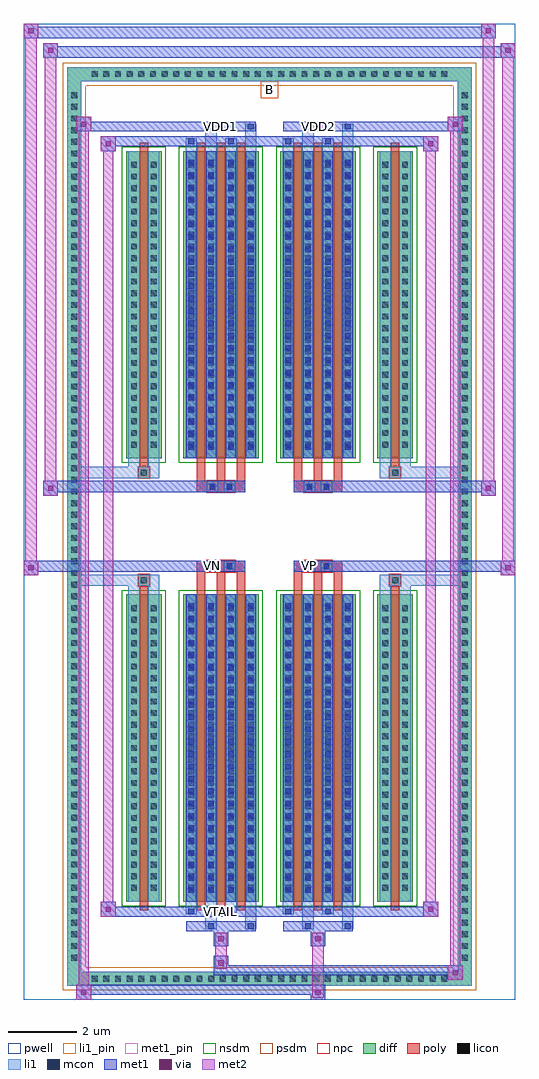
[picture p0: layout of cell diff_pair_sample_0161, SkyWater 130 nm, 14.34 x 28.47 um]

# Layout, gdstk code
import gdstk
lib = gdstk.Library(unit=1e-6, precision=5e-09)
def R(c, l, rs):  # rectangles x0, y0, x1, y1
    for r in rs: c.add(gdstk.rectangle(r[:2], r[2:], *l))
def A(c, l, x, y, w, h, nx, ny, dx, dy):  # array of equal rectangles
    R(c, l, [(x+i*dx, y+j*dy, x+i*dx+w, y+j*dy+h) for i in range(nx) for j in range(ny)])
def P(c, l, *ps):  # polygons
    for p in ps: c.add(gdstk.Polygon(p, *l))
pwell = (64, 44)
diff = (65, 20)
poly = (66, 20)
licon = (66, 44)
li1_pin = (67, 16)
li1 = (67, 20)
mcon = (67, 44)
met1_pin = (68, 16)
met1 = (68, 20)
via = (68, 44)
met2 = (69, 20)
nsdm = (93, 44)
psdm = (94, 20)
npc = (95, 20)

diff_pair_sample_0161 = lib.new_cell('diff_pair_sample_0161')
R(diff_pair_sample_0161, pwell, [(-7.17,-13.8,7.17,14.67), (-4.49,-11.99,-0.01,-0.795), (0.01,-11.99,4.49,-0.795), (-4.49,0.795,-0.01,11.99), (0.01,0.795,4.49,11.99)])
A(diff_pair_sample_0161, diff, -5.305, -13.4, 0.41, 0.41, 31, 2, 0.34, 26.39)
A(diff_pair_sample_0161, diff, -5.9, -12.785, 0.41, 0.41, 1, 75, 0, 0.34)
A(diff_pair_sample_0161, diff, 5.49, -12.785, 0.41, 0.41, 1, 75, 0, 0.34)
R(diff_pair_sample_0161, diff, [(-5.305,-13.4,5.305,-12.99), (-5.9,-12.785,-5.49,12.785), (5.49,-12.785,5.9,12.785), (-4.18,-10.945,-3.15,-1.985), (-2.51,-10.945,-0.32,-1.985), (0.32,-10.945,2.51,-1.985), (3.15,-10.945,4.18,-1.985), (-4.18,1.985,-3.15,10.945), (-2.51,1.985,-0.32,10.945), (0.32,1.985,2.51,10.945), (3.15,1.985,4.18,10.945), (-5.305,12.99,5.305,13.4)])
P(diff_pair_sample_0161, diff, [(5.9,13.4),(-5.9,13.4),(-5.9,-12.99),(-5.49,-12.99),(-5.49,12.99),(5.49,12.99),(5.49,-12.99),(-5.49,-12.99),(-5.9,-12.99),(-5.9,-13.4),(5.9,-13.4)])
A(diff_pair_sample_0161, poly, -2.12, -11.195, 0.25, 9.46, 3, 2, 0.58, 12.93)
A(diff_pair_sample_0161, poly, 0.71, -11.195, 0.25, 9.46, 3, 2, 0.58, 12.93)
A(diff_pair_sample_0161, poly, -2.12, -1.735, 0.25, 0.41, 3, 2, 0.58, 3.06)
A(diff_pair_sample_0161, poly, 0.71, -1.735, 0.25, 0.41, 3, 2, 0.58, 3.06)
R(diff_pair_sample_0161, poly, [(-3.79,-11.195,-3.54,-1.735), (3.54,-11.195,3.79,-1.735), (-3.83,-1.735,-3.5,-1.405), (-3.83,-1.735,-3.5,-1.405), (3.5,-1.735,3.83,-1.405), (3.5,-1.735,3.83,-1.405), (-2.12,-1.325,-0.71,-0.995), (-1.83,-1.325,-1.5,-0.995), (-1.33,-1.325,-1,-0.995), (0.71,-1.325,2.12,-0.995), (1,-1.325,1.33,-0.995), (1.5,-1.325,1.83,-0.995), (-2.12,0.995,-0.71,1.325), (-1.83,0.995,-1.5,1.325), (-1.33,0.995,-1,1.325), (0.71,0.995,2.12,1.325), (1,0.995,1.33,1.325), (1.5,0.995,1.83,1.325), (-3.83,1.405,-3.5,1.735), (-3.83,1.405,-3.5,1.735), (3.5,1.405,3.83,1.735), (3.5,1.405,3.83,1.735), (-3.79,1.735,-3.54,11.195), (3.54,1.735,3.79,11.195)])
A(diff_pair_sample_0161, licon, -5.185, -13.28, 0.17, 0.17, 31, 2, 0.34, 26.39)
A(diff_pair_sample_0161, licon, -5.78, -12.665, 0.17, 0.17, 1, 75, 0, 0.34)
A(diff_pair_sample_0161, licon, 5.61, -12.665, 0.17, 0.17, 1, 75, 0, 0.34)
A(diff_pair_sample_0161, licon, -4.04, -10.63, 0.17, 0.17, 1, 25, 0, 0.34)
A(diff_pair_sample_0161, licon, -3.46, -10.63, 0.17, 0.17, 1, 25, 0, 0.34)
A(diff_pair_sample_0161, licon, -2.37, -10.63, 0.17, 0.17, 4, 25, 0.58, 0.34)
A(diff_pair_sample_0161, licon, 0.46, -10.63, 0.17, 0.17, 4, 25, 0.58, 0.34)
A(diff_pair_sample_0161, licon, 3.29, -10.63, 0.17, 0.17, 1, 25, 0, 0.34)
A(diff_pair_sample_0161, licon, 3.87, -10.63, 0.17, 0.17, 1, 25, 0, 0.34)
A(diff_pair_sample_0161, licon, -4.04, 2.3, 0.17, 0.17, 1, 25, 0, 0.34)
A(diff_pair_sample_0161, licon, -3.46, 2.3, 0.17, 0.17, 1, 25, 0, 0.34)
A(diff_pair_sample_0161, licon, -2.37, 2.3, 0.17, 0.17, 4, 25, 0.58, 0.34)
A(diff_pair_sample_0161, licon, 0.46, 2.3, 0.17, 0.17, 4, 25, 0.58, 0.34)
A(diff_pair_sample_0161, licon, 3.29, 2.3, 0.17, 0.17, 1, 25, 0, 0.34)
A(diff_pair_sample_0161, licon, 3.87, 2.3, 0.17, 0.17, 1, 25, 0, 0.34)
R(diff_pair_sample_0161, licon, [(-3.75,-1.655,-3.58,-1.485), (3.58,-1.655,3.75,-1.485), (-1.75,-1.245,-1.58,-1.075), (-1.25,-1.245,-1.08,-1.075), (1.08,-1.245,1.25,-1.075), (1.58,-1.245,1.75,-1.075), (-1.75,1.075,-1.58,1.245), (-1.25,1.075,-1.08,1.245), (1.08,1.075,1.25,1.245), (1.58,1.075,1.75,1.245), (-3.75,1.485,-3.58,1.655), (3.58,1.485,3.75,1.655)])
R(diff_pair_sample_0161, li1_pin, [(-0.25,12.49,0.25,12.99)])
A(diff_pair_sample_0161, li1, -5.265, -13.36, 0.33, 0.33, 31, 2, 0.34, 26.39)
A(diff_pair_sample_0161, li1, -5.86, -12.745, 0.33, 0.33, 1, 75, 0, 0.34)
A(diff_pair_sample_0161, li1, 5.53, -12.745, 0.33, 0.33, 1, 75, 0, 0.34)
A(diff_pair_sample_0161, li1, -2.45, -10.945, 0.33, 8.96, 4, 2, 0.58, 12.93)
A(diff_pair_sample_0161, li1, 0.38, -10.945, 0.33, 8.96, 4, 2, 0.58, 12.93)
A(diff_pair_sample_0161, li1, -4.12, -10.71, 0.33, 0.33, 1, 25, 0, 0.34)
A(diff_pair_sample_0161, li1, -3.54, -10.71, 0.33, 0.33, 1, 25, 0, 0.34)
A(diff_pair_sample_0161, li1, -2.45, -10.71, 0.33, 0.33, 4, 25, 0.58, 0.34)
A(diff_pair_sample_0161, li1, 0.38, -10.71, 0.33, 0.33, 4, 25, 0.58, 0.34)
A(diff_pair_sample_0161, li1, 3.21, -10.71, 0.33, 0.33, 1, 25, 0, 0.34)
A(diff_pair_sample_0161, li1, 3.79, -10.71, 0.33, 0.33, 1, 25, 0, 0.34)
A(diff_pair_sample_0161, li1, -2.37, -10.69, 0.17, 0.17, 4, 24, 0.58, 0.36)
A(diff_pair_sample_0161, li1, -2.37, -10.69, 0.17, 8.45, 4, 2, 0.58, 12.93)
A(diff_pair_sample_0161, li1, 0.46, -10.69, 0.17, 0.17, 4, 24, 0.58, 0.36)
A(diff_pair_sample_0161, li1, 0.46, -10.69, 0.17, 8.45, 4, 2, 0.58, 12.93)
A(diff_pair_sample_0161, li1, -4.12, 2.22, 0.33, 0.33, 1, 25, 0, 0.34)
A(diff_pair_sample_0161, li1, -3.54, 2.22, 0.33, 0.33, 1, 25, 0, 0.34)
A(diff_pair_sample_0161, li1, -2.45, 2.22, 0.33, 0.33, 4, 25, 0.58, 0.34)
A(diff_pair_sample_0161, li1, 0.38, 2.22, 0.33, 0.33, 4, 25, 0.58, 0.34)
A(diff_pair_sample_0161, li1, 3.21, 2.22, 0.33, 0.33, 1, 25, 0, 0.34)
A(diff_pair_sample_0161, li1, 3.79, 2.22, 0.33, 0.33, 1, 25, 0, 0.34)
A(diff_pair_sample_0161, li1, -2.37, 2.24, 0.17, 0.17, 4, 24, 0.58, 0.36)
A(diff_pair_sample_0161, li1, 0.46, 2.24, 0.17, 0.17, 4, 24, 0.58, 0.36)
R(diff_pair_sample_0161, li1, [(-5.9,-13.4,-5.49,-12.99), (-5.9,-13.4,-5.49,-12.99), (-5.49,-13.4,5.49,-12.99), (5.49,-13.4,5.9,-12.99), (5.49,-13.4,5.9,-12.99), (-5.9,-12.99,-5.49,12.99), (5.49,-12.99,5.9,12.99), (-1.87,-11.75,-1.54,-10.945), (-1.79,-11.75,-1.62,-11.58), (-0.71,-11.75,-0.38,-10.945), (-0.63,-11.75,-0.46,-11.58), (0.96,-11.75,1.29,-10.945), (1.04,-11.75,1.21,-11.58), (2.12,-11.75,2.45,-10.945), (2.2,-11.75,2.37,-11.58), (-2.45,-11.32,-2.12,-10.945), (-2.37,-11.32,-2.2,-11.15), (-1.29,-11.32,-0.96,-10.945), (-1.21,-11.32,-1.04,-11.15), (0.38,-11.32,0.71,-10.945), (0.46,-11.32,0.63,-11.15), (1.54,-11.32,1.87,-10.945), (1.62,-11.32,1.79,-11.15), (-4.12,-10.945,-3.79,-1.985), (-3.54,-10.945,-3.21,-1.985), (3.21,-10.945,3.54,-1.985), (3.79,-10.945,4.12,-1.985), (-4.12,-1.985,-3.79,-1.405), (-3.54,-1.985,-3.21,-1.405), (3.21,-1.985,3.54,-1.405), (3.79,-1.985,4.12,-1.405), (-5.9,-1.735,-3.83,-1.405), (-4.12,-1.735,-3.83,-1.405), (-3.83,-1.735,-3.5,-1.405), (-3.5,-1.735,-3.21,-1.405), (3.21,-1.735,3.5,-1.405), (3.5,-1.735,3.83,-1.405), (3.5,-1.735,5.9,-1.405), (3.83,-1.735,4.12,-1.405), (-1.83,-1.325,-1.5,-0.995), (-1.33,-1.325,-1,-0.995), (1,-1.325,1.33,-0.995), (1.5,-1.325,1.83,-0.995), (-1.83,0.995,-1.5,1.325), (-1.33,0.995,-1,1.325), (1,0.995,1.33,1.325), (1.5,0.995,1.83,1.325), (-5.9,1.405,-3.83,1.735), (-4.12,1.405,-3.83,1.735), (-4.12,1.405,-3.79,1.985), (-3.83,1.405,-3.5,1.735), (-3.54,1.405,-3.21,1.985), (-3.5,1.405,-3.21,1.735), (3.21,1.405,3.5,1.735), (3.21,1.405,3.54,1.985), (3.5,1.405,3.83,1.735), (3.5,1.405,5.9,1.735), (3.79,1.405,4.12,1.985), (3.83,1.405,4.12,1.735), (-4.12,1.985,-3.79,10.945), (-3.54,1.985,-3.21,10.945), (3.21,1.985,3.54,10.945), (3.79,1.985,4.12,10.945), (-2.45,10.945,-2.12,11.32), (-1.87,10.945,-1.54,11.75), (-1.29,10.945,-0.96,11.32), (-0.71,10.945,-0.38,11.75), (0.38,10.945,0.71,11.32), (0.96,10.945,1.29,11.75), (1.54,10.945,1.87,11.32), (2.12,10.945,2.45,11.75), (-2.37,11.15,-2.2,11.32), (-1.21,11.15,-1.04,11.32), (0.46,11.15,0.63,11.32), (1.62,11.15,1.79,11.32), (-1.79,11.58,-1.62,11.75), (-0.63,11.58,-0.46,11.75), (1.04,11.58,1.21,11.75), (2.2,11.58,2.37,11.75), (-5.9,12.99,-5.49,13.4), (-5.9,12.99,-5.49,13.4), (-5.49,12.99,5.49,13.4), (5.49,12.99,5.9,13.4), (5.49,12.99,5.9,13.4)])
A(diff_pair_sample_0161, mcon, -2.37, -10.69, 0.17, 0.17, 4, 24, 0.58, 0.36)
A(diff_pair_sample_0161, mcon, 0.46, -10.69, 0.17, 0.17, 4, 24, 0.58, 0.36)
A(diff_pair_sample_0161, mcon, -2.37, 2.24, 0.17, 0.17, 4, 24, 0.58, 0.36)
A(diff_pair_sample_0161, mcon, 0.46, 2.24, 0.17, 0.17, 4, 24, 0.58, 0.36)
R(diff_pair_sample_0161, mcon, [(-1.79,-11.75,-1.62,-11.58), (-0.63,-11.75,-0.46,-11.58), (1.04,-11.75,1.21,-11.58), (2.2,-11.75,2.37,-11.58), (-2.37,-11.32,-2.2,-11.15), (-1.21,-11.32,-1.04,-11.15), (0.46,-11.32,0.63,-11.15), (1.62,-11.32,1.79,-11.15), (-1.75,-1.245,-1.58,-1.075), (-1.25,-1.245,-1.08,-1.075), (1.08,-1.245,1.25,-1.075), (1.58,-1.245,1.75,-1.075), (-1.75,1.075,-1.58,1.245), (-1.25,1.075,-1.08,1.245), (1.08,1.075,1.25,1.245), (1.58,1.075,1.75,1.245), (-2.37,11.15,-2.2,11.32), (-1.21,11.15,-1.04,11.32), (0.46,11.15,0.63,11.32), (1.62,11.15,1.79,11.32), (-1.79,11.58,-1.62,11.75), (-0.63,11.58,-0.46,11.75), (1.04,11.58,1.21,11.75), (2.2,11.58,2.37,11.75)])
R(diff_pair_sample_0161, met1_pin, [(-1.55,-11.36,-1.28,-11.09), (-1.8,-1.285,-1.53,-1.015), (1.03,-1.285,1.3,-1.015), (-1.55,11.54,-1.28,11.81), (1.28,11.54,1.55,11.81)])
A(diff_pair_sample_0161, met1, -2.43, -10.945, 0.29, 8.96, 4, 2, 0.58, 12.93)
A(diff_pair_sample_0161, met1, 0.4, -10.945, 0.29, 8.96, 4, 2, 0.58, 12.93)
A(diff_pair_sample_0161, met1, -2.43, -10.75, 0.29, 0.29, 4, 24, 0.58, 0.36)
A(diff_pair_sample_0161, met1, 0.4, -10.75, 0.29, 0.29, 4, 24, 0.58, 0.36)
A(diff_pair_sample_0161, met1, -2.43, 2.18, 0.29, 0.29, 4, 24, 0.58, 0.36)
A(diff_pair_sample_0161, met1, 0.4, 2.18, 0.29, 0.29, 4, 24, 0.58, 0.36)
R(diff_pair_sample_0161, met1, [(-5.63,-13.8,-5.2,-13.37), (1.2,-13.8,1.63,-13.37), (-5.63,-13.66,1.63,-13.37), (5.2,-13.23,5.63,-12.8), (-1.63,-13.09,5.63,-12.8), (-1.63,-12.95,-1.2,-12.52), (-1.63,-12.24,-1.2,-11.81), (1.2,-12.24,1.63,-11.81), (-2.43,-11.81,-0.4,-11.52), (-1.85,-11.81,-1.56,-11.52), (-0.69,-11.81,-0.4,-11.52), (0.4,-11.81,2.43,-11.52), (0.98,-11.81,1.27,-11.52), (2.14,-11.81,2.43,-11.52), (-4.92,-11.38,-4.49,-10.95), (-4.92,-11.38,-2.43,-11.09), (-2.43,-11.38,-2.14,-11.09), (-2.43,-11.38,-0.4,-11.09), (-1.27,-11.38,-0.98,-11.09), (-0.4,-11.38,0.4,-11.09), (0.4,-11.38,0.69,-11.09), (0.4,-11.38,2.43,-11.09), (1.56,-11.38,1.85,-11.09), (2.43,-11.38,4.92,-11.09), (4.49,-11.38,4.92,-10.95), (-7.17,-1.425,-6.74,-0.995), (6.74,-1.425,7.17,-0.995), (-7.17,-1.325,-0.71,-0.995), (-2.12,-1.325,-0.71,-0.995), (0.71,-1.325,2.12,-0.995), (0.71,-1.325,7.17,-0.995), (-1.81,-1.305,-1.52,-1.015), (-1.31,-1.305,-1.02,-1.015), (1.02,-1.305,1.31,-1.015), (1.52,-1.305,1.81,-1.015), (-6.6,0.895,-6.17,1.325), (6.17,0.895,6.6,1.325), (-6.6,0.995,-2.12,1.325), (-2.12,0.995,-0.71,1.325), (0.71,0.995,2.12,1.325), (2.12,0.995,6.6,1.325), (-1.81,1.015,-1.52,1.305), (-1.31,1.015,-1.02,1.305), (1.02,1.015,1.31,1.305), (1.52,1.015,1.81,1.305), (-4.92,10.95,-4.49,11.38), (4.49,10.95,4.92,11.38), (-4.92,11.09,-2.43,11.38), (-2.43,11.09,-2.14,11.38), (-2.43,11.09,-0.4,11.38), (-1.27,11.09,-0.98,11.38), (-0.4,11.09,0.4,11.38), (0.4,11.09,0.69,11.38), (0.4,11.09,2.43,11.38), (1.56,11.09,1.85,11.38), (2.43,11.09,4.92,11.38), (-5.63,11.52,-5.2,11.95), (-5.63,11.52,-2.43,11.81), (-2.43,11.52,-0.4,11.81), (-1.85,11.52,-1.56,11.81), (-0.69,11.52,-0.4,11.81), (0.4,11.52,2.43,11.81), (0.98,11.52,1.27,11.81), (2.14,11.52,2.43,11.81), (2.43,11.52,5.63,11.81), (5.2,11.52,5.63,11.95), (-6.6,13.67,-6.17,14.1), (-6.6,13.67,-4.49,14), (-4.49,13.67,4.49,14), (4.49,13.67,7.17,14), (6.74,13.67,7.17,14.1), (-7.17,14.24,-6.74,14.67), (-7.17,14.24,-4.49,14.57), (-4.49,14.24,4.49,14.57), (4.49,14.24,6.6,14.57), (6.17,14.24,6.6,14.67)])
R(diff_pair_sample_0161, via, [(-5.49,-13.66,-5.34,-13.51), (1.34,-13.66,1.49,-13.51), (5.34,-13.09,5.49,-12.94), (-1.49,-12.81,-1.34,-12.66), (-1.49,-12.1,-1.34,-11.95), (1.34,-12.1,1.49,-11.95), (-4.78,-11.24,-4.63,-11.09), (4.63,-11.24,4.78,-11.09), (-7.03,-1.285,-6.88,-1.135), (6.88,-1.285,7.03,-1.135), (-6.46,1.035,-6.31,1.185), (6.31,1.035,6.46,1.185), (-4.78,11.09,-4.63,11.24), (4.63,11.09,4.78,11.24), (-5.49,11.66,-5.34,11.81), (5.34,11.66,5.49,11.81), (-6.46,13.81,-6.31,13.96), (6.88,13.81,7.03,13.96), (-7.03,14.38,-6.88,14.53), (6.31,14.38,6.46,14.53)])
R(diff_pair_sample_0161, met2, [(-5.63,-13.8,-5.2,-13.37), (-5.56,-13.8,-5.27,11.95), (-5.27,-13.8,-5.2,-13.37), (-5.58,-13.75,-5.25,-13.42), (1.25,-13.75,1.58,-13.42), (1.25,-13.42,1.58,-12.19), (5.2,-13.23,5.63,-12.8), (5.27,-13.23,5.56,11.95), (5.56,-13.23,5.63,-12.8), (5.25,-13.18,5.58,-12.85), (-1.58,-12.9,-1.25,-12.57), (-1.58,-12.57,-1.25,-12.19), (-1.58,-12.19,-1.25,-11.86), (1.25,-12.19,1.58,-11.86), (-4.92,-11.38,-4.49,-10.95), (-4.85,-11.38,-4.56,11.38), (-4.56,-11.38,-4.49,-10.95), (4.49,-11.38,4.92,-10.95), (4.56,-11.38,4.85,11.38), (4.85,-11.38,4.92,-10.95), (-4.87,-11.33,-4.54,-11), (4.54,-11.33,4.87,-11), (-7.17,-1.425,-6.74,-0.995), (-7.12,-1.425,-6.79,14.67), (-6.79,-1.425,-6.74,-0.995), (6.74,-1.425,7.17,-0.995), (6.79,-1.425,7.12,14.1), (7.12,-1.425,7.17,-0.995), (-7.12,-1.375,-6.79,-1.045), (6.79,-1.375,7.12,-1.045), (-6.6,0.895,-6.17,1.325), (-6.55,0.895,-6.22,14.1), (-6.22,0.895,-6.17,1.325), (6.17,0.895,6.6,1.325), (6.22,0.895,6.55,14.67), (6.55,0.895,6.6,1.325), (-6.55,0.945,-6.22,1.275), (6.22,0.945,6.55,1.275), (-4.92,10.95,-4.49,11.38), (-4.56,10.95,-4.49,11.38), (4.49,10.95,4.92,11.38), (4.85,10.95,4.92,11.38), (-4.87,11,-4.54,11.33), (4.54,11,4.87,11.33), (-5.63,11.52,-5.2,11.95), (-5.27,11.52,-5.2,11.95), (5.2,11.52,5.63,11.95), (5.56,11.52,5.63,11.95), (-5.58,11.57,-5.25,11.9), (5.25,11.57,5.58,11.9), (-6.6,13.67,-6.17,14.1), (-6.22,13.67,-6.17,14.1), (6.74,13.67,7.17,14.1), (7.12,13.67,7.17,14.1), (-6.55,13.72,-6.22,14.05), (6.79,13.72,7.12,14.05), (-7.17,14.24,-6.74,14.67), (-6.79,14.24,-6.74,14.67), (6.17,14.24,6.6,14.67), (6.55,14.24,6.6,14.67), (-7.12,14.29,-6.79,14.62), (6.22,14.29,6.55,14.62)])
R(diff_pair_sample_0161, nsdm, [(-4.31,-11.075,-3.02,-1.855), (-2.64,-11.075,-0.19,-1.855), (0.19,-11.075,2.64,-1.855), (3.02,-11.075,4.31,-1.855), (-4.31,1.855,-3.02,11.075), (-2.64,1.855,-0.19,11.075), (0.19,1.855,2.64,11.075), (3.02,1.855,4.31,11.075)])
P(diff_pair_sample_0161, psdm, [(6.03,13.53),(-6.03,13.53),(-6.03,-12.86),(-5.36,-12.86),(-5.36,12.86),(5.36,12.86),(5.36,-12.86),(-5.36,-12.86),(-6.03,-12.86),(-6.03,-13.53),(6.03,-13.53)])
R(diff_pair_sample_0161, npc, [(-3.85,-1.755,-3.48,-1.385), (3.48,-1.755,3.85,-1.385), (-1.85,-1.345,-1.48,-0.975), (-1.85,-1.345,-0.98,-0.975), (-1.85,-1.345,-0.98,-0.975), (-1.35,-1.345,-0.98,-0.975), (0.98,-1.345,1.35,-0.975), (0.98,-1.345,1.85,-0.975), (0.98,-1.345,1.85,-0.975), (1.48,-1.345,1.85,-0.975), (-1.85,0.975,-1.48,1.345), (-1.85,0.975,-0.98,1.345), (-1.85,0.975,-0.98,1.345), (-1.35,0.975,-0.98,1.345), (0.98,0.975,1.35,1.345), (0.98,0.975,1.85,1.345), (0.98,0.975,1.85,1.345), (1.48,0.975,1.85,1.345), (-3.85,1.385,-3.48,1.755), (3.48,1.385,3.85,1.755)])
diff_pair_sample_0161.add(gdstk.Label('VTAIL', (-1.415,-11.225), layer=68, texttype=5))
diff_pair_sample_0161.add(gdstk.Label('VN', (-1.665,-1.15), layer=68, texttype=5))
diff_pair_sample_0161.add(gdstk.Label('VP', (1.165,-1.15), layer=68, texttype=5))
diff_pair_sample_0161.add(gdstk.Label('B', (0,12.74), layer=67, texttype=5))
diff_pair_sample_0161.add(gdstk.Label('VDD2', (1.415,11.675), layer=68, texttype=5))
diff_pair_sample_0161.add(gdstk.Label('VDD1', (-1.415,11.675), layer=68, texttype=5))

lib.write_gds('diff_pair_sample_0161.gds')
